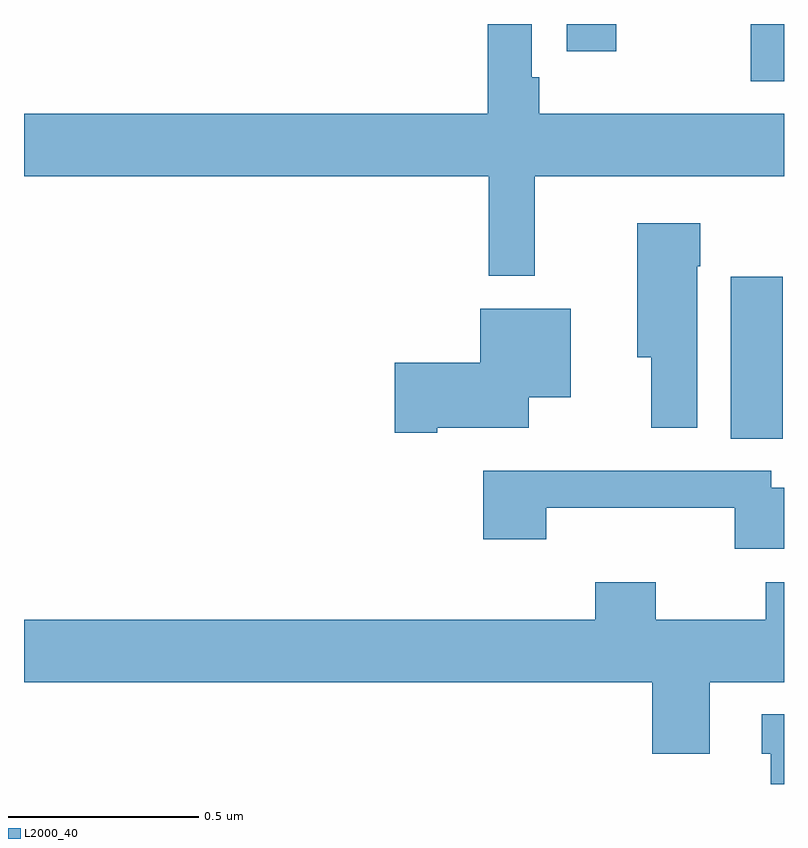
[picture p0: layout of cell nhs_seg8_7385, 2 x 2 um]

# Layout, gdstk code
import gdstk
lib = gdstk.Library(unit=1e-6, precision=1e-09)
def R(c, l, rs):  # rectangles x0, y0, x1, y1
    for r in rs: c.add(gdstk.rectangle(r[:2], r[2:], *l))
def P(c, l, *ps):  # polygons
    for p in ps: c.add(gdstk.Polygon(p, *l))
L2000_40 = (2000, 40)

nhs_seg8_7385 = lib.new_cell('nhs_seg8_7385')
R(nhs_seg8_7385, L2000_40, [(210.86,1115.809,210.997,1116.235), (210.913,1116.75,211,1116.9), (210.428,1116.828,210.558,1116.9)])
P(nhs_seg8_7385, L2000_40, [(210.344,1116.5),(211,1116.5),(211,1116.664),(210.356,1116.664),(210.356,1116.76),(210.336,1116.76),(210.336,1116.9),(210.22,1116.9),(210.22,1116.664),(209,1116.664),(209,1116.5),(210.223,1116.5),(210.223,1116.237),(210.344,1116.237)],
  [(210.772,1116.263),(210.78,1116.263),(210.78,1116.376),(210.614,1116.376),(210.614,1116.023),(210.65,1116.023),(210.65,1115.838),(210.772,1115.838)],
  [(210.088,1115.837),(210.328,1115.837),(210.328,1115.918),(210.439,1115.918),(210.439,1116.151),(210.2,1116.151),(210.2,1116.008),(209.976,1116.008),(209.976,1115.825),(210.088,1115.825)],
  [(211,1115.68),(210.966,1115.68),(210.966,1115.724),(210.209,1115.724),(210.209,1115.544),(210.374,1115.544),(210.374,1115.627),(210.87,1115.627),(210.87,1115.519),(211,1115.519)],
  [(210.503,1115.431),(210.503,1115.332),(209,1115.332),(209,1115.168),(210.653,1115.168),(210.653,1114.979),(210.805,1114.979),(210.805,1115.168),(211,1115.168),(211,1115.431),(210.952,1115.431),(210.952,1115.332),(210.663,1115.332),(210.663,1115.431)],
  [(211,1115.083),(210.941,1115.083),(210.941,1114.98),(210.965,1114.98),(210.965,1114.9),(211,1114.9)])

lib.write_gds('nhs_seg8_7385.gds')
